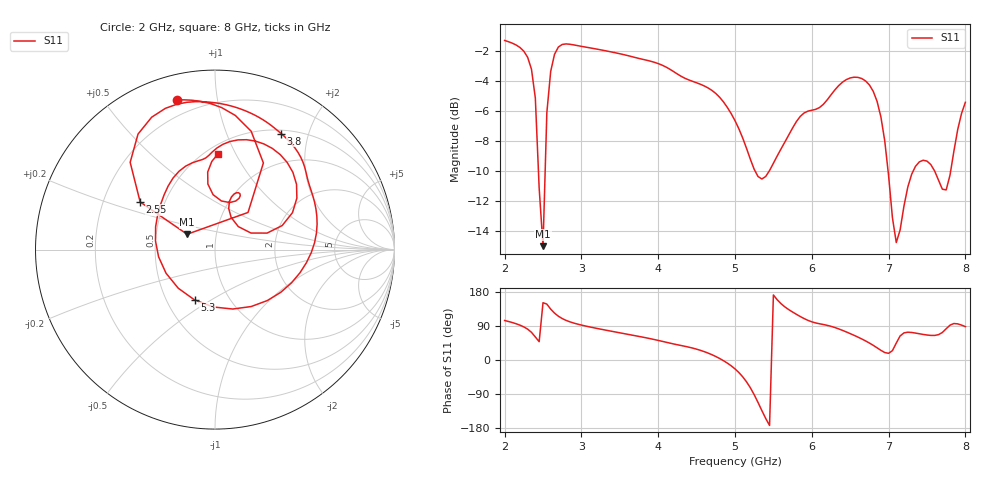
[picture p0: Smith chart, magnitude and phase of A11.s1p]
! Generated by Hertzon (EMerge FEM)
# HZ S RI R 50
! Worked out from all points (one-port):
!   121 points, 2 GHz to 8 GHz, reference 50 ohm
!   lowest |S11| = -15.0 dB at 2.5 GHz (marker M1), VSWR 1.43, Z = 36.1 + j6.37 ohm
!   |S11| at or under -10 dB: 5.26 GHz to 5.448 GHz (187.3 MHz wide, 3.5 % of centre); 6.993 GHz to 7.322 GHz (329.1 MHz wide, 4.6 % of centre); 7.598 GHz to 7.809 GHz (210.7 MHz wide, 2.73 % of centre)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
!   S11 on the Smith chart (normalised r, x): 2 GHz: 0.12, +0.77; 2.55 GHz: 0.36, +0.26; 3.8 GHz: 0.55, +1.58; 5.3 GHz: 0.69, -0.42; 8 GHz: 0.57, +0.86
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2e9  -0.2117 0.8336
2.25e9  0.0367 0.7914
2.35e9  0.2016 0.6593
2.4e9  0.2696 0.4828
2.45e9  0.1841 0.207
2.5e9  -0.1554 0.0855
2.55e9  -0.417 0.2653
2.65e9  -0.4288 0.6436
2.75e9  -0.2766 0.7869
3e9  -0.0314 0.8215
3.5e9  0.2434 0.7376
3.8e9  0.369 0.646
4.25e9  0.5074 0.4293
4.75e9  0.5652 0.0916
5e9  0.4263 -0.1852
5.15e9  0.2015 -0.3172
5.3e9  -0.114 -0.2804
5.5e9  -0.3316 0.0487
5.75e9  -0.2616 0.353
6.5e9  0.2244 0.6047
6.85e9  0.4562 0.2869
7e9  0.2903 0.092
7.1e9  0.1298 0.1282
7.25e9  0.08 0.2674
7.45e9  0.1314 0.3168
7.75e9  0.036 0.2708
7.85e9  -0.0397 0.3651
8e9  0.0181 0.5348
